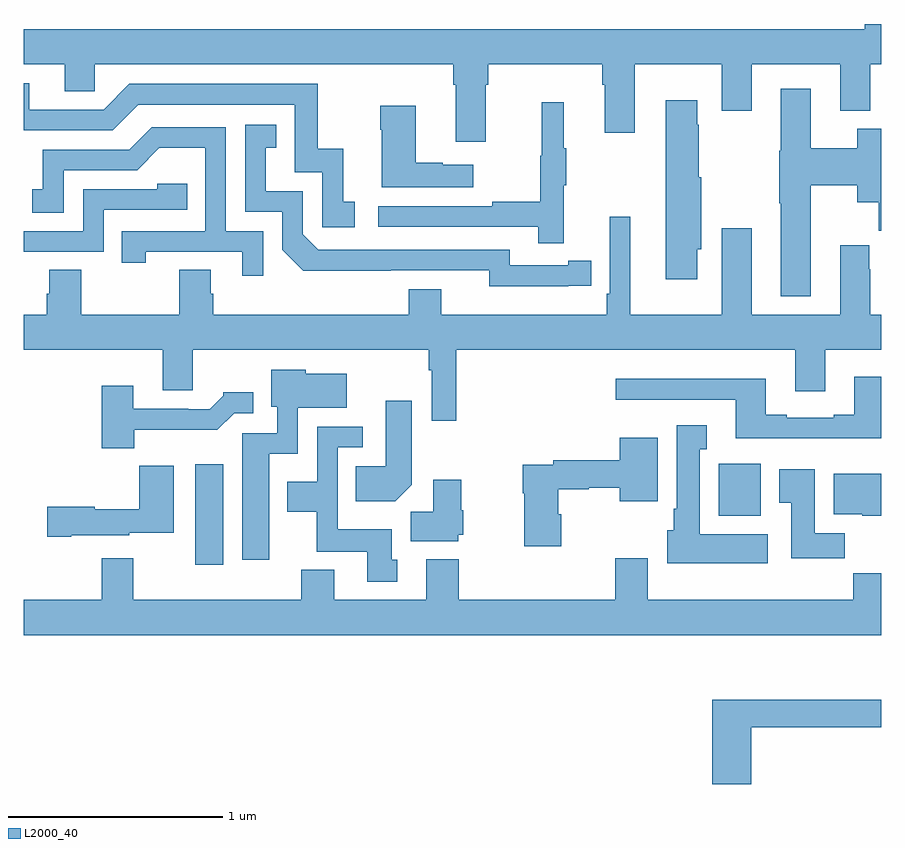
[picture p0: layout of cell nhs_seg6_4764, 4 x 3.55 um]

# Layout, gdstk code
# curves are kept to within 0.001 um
import gdstk
lib = gdstk.Library(unit=1e-6, precision=1e-09)
def R(c, l, rs):  # rectangles x0, y0, x1, y1
    for r in rs: c.add(gdstk.rectangle(r[:2], r[2:], *l))
def P(c, l, *ps):  # polygons
    for p in ps: c.add(gdstk.Polygon(p, *l))
L2000_40 = (2000, 40)

nhs_seg6_4764 = lib.new_cell('nhs_seg6_4764')
R(nhs_seg6_4764, L2000_40, [(393.8,968.976,393.931,969.445), (396.242,969.206,396.439,969.448)])
P(nhs_seg6_4764, L2000_40, [(393,971.312),(393.191,971.312),(393.191,971.185),(393.33,971.185),(393.33,971.312),(395.003,971.312),(395.003,971.216),(395.015,971.216),(395.015,970.95),(395.155,970.95),(395.155,971.216),(395.168,971.216),(395.168,971.312),(395.699,971.312),(395.699,971.216),(395.711,971.216),(395.711,970.992),(395.851,970.992),(395.851,971.312),(396.257,971.312),(396.257,971.094),(396.397,971.094),(396.397,971.312),(396.809,971.312),(396.809,971.096),(396.949,971.096),(396.949,971.312),(397,971.312),(397,971.5),(396.924,971.5),(396.924,971.476),(393,971.476)],
  [(394.543,970.671),(394.49,970.671),(394.49,970.918),(394.372,970.918),(394.372,971.22),(393.492,971.22),(393.372,971.1),(393.025,971.1),(393.025,971.223),(393,971.223),(393,971.004),(393.414,971.004),(393.534,971.124),(394.263,971.124),(394.263,970.809),(394.392,970.809),(394.392,970.551),(394.543,970.551)],
  [(396.673,970.748),(396.89,970.748),(396.89,970.667),(396.989,970.667),(396.989,970.536),(397,970.536),(397,971.011),(396.89,971.011),(396.89,970.92),(396.673,970.92),(396.673,971.197),(396.533,971.197),(396.533,970.908),(396.526,970.908),(396.526,970.664),(396.533,970.664),(396.533,970.229),(396.673,970.229)],
  [(396.142,970.449),(396.16,970.449),(396.16,970.785),(396.15,970.785),(396.15,971.03),(396.142,971.03),(396.142,971.143),(395.996,971.143),(395.996,970.308),(396.142,970.308)],
  [(395.519,970.747),(395.53,970.747),(395.53,970.921),(395.519,970.921),(395.519,971.134),(395.416,971.134),(395.416,970.884),(395.409,970.884),(395.409,970.67),(395.185,970.67),(395.185,970.65),(394.653,970.65),(394.653,970.554),(395.401,970.554),(395.401,970.476),(395.519,970.476)],
  [(395.098,970.843),(394.955,970.843),(394.955,970.853),(394.828,970.853),(394.828,971.119),(394.663,971.119),(394.663,971.006),(394.67,971.006),(394.67,970.739),(395.098,970.739)],
  [(395.54,970.278),(395.648,970.278),(395.648,970.394),(395.54,970.394),(395.54,970.374),(395.268,970.374),(395.268,970.446),(394.374,970.446),(394.302,970.518),(394.302,970.719),(394.129,970.719),(394.129,970.923),(394.178,970.923),(394.178,971.029),(394.032,971.029),(394.032,970.623),(394.206,970.623),(394.206,970.446),(394.304,970.349),(395.172,970.35),(395.172,970.277)],
  [(394.116,970.533),(393.942,970.533),(393.942,971.019),(393.596,971.019),(393.491,970.914),(393.088,970.914),(393.088,970.729),(393.039,970.729),(393.039,970.62),(393.186,970.62),(393.186,970.818),(393.528,970.818),(393.632,970.922),(393.846,970.922),(393.846,970.533),(393.457,970.533),(393.457,970.386),(393.568,970.386),(393.568,970.437),(394.019,970.437),(394.019,970.326),(394.116,970.326)],
  [(393.372,970.632),(393.761,970.632),(393.761,970.755),(393.621,970.755),(393.621,970.728),(393.276,970.728),(393.276,970.533),(393,970.533),(393,970.437),(393.372,970.437)],
  [(394.948,970.261),(394.796,970.261),(394.796,970.144),(393.884,970.144),(393.884,970.242),(393.871,970.242),(393.871,970.352),(393.724,970.352),(393.724,970.144),(393.267,970.144),(393.267,970.352),(393.119,970.352),(393.119,970.242),(393.107,970.242),(393.107,970.144),(393,970.144),(393,969.98),(393.647,969.98),(393.647,969.79),(393.787,969.79),(393.787,969.98),(394.89,969.98),(394.89,969.884),(394.902,969.884),(394.902,969.648),(395.018,969.648),(395.018,969.98),(396.599,969.98),(396.599,969.786),(396.739,969.786),(396.739,969.98),(397,969.98),(397,970.144),(396.949,970.144),(396.949,970.355),(396.946,970.355),(396.946,970.468),(396.809,970.468),(396.809,970.144),(396.397,970.144),(396.397,970.546),(396.257,970.546),(396.257,970.144),(395.83,970.144),(395.83,970.6),(395.733,970.6),(395.733,970.24),(395.72,970.24),(395.72,970.144),(394.948,970.144)],
  [(394.144,969.494),(394.278,969.494),(394.278,969.71),(394.507,969.71),(394.507,969.868),(394.314,969.868),(394.314,969.886),(394.154,969.886),(394.154,969.714),(394.182,969.714),(394.182,969.591),(394.019,969.591),(394.019,969),(394.144,969)],
  [(397,969.853),(396.875,969.853),(396.875,969.676),(396.779,969.676),(396.779,969.663),(396.559,969.663),(396.559,969.676),(396.463,969.676),(396.463,969.844),(395.763,969.844),(395.763,969.747),(396.323,969.747),(396.323,969.566),(397,969.566)],
  [(393.514,969.606),(393.903,969.606),(393.981,969.684),(394.069,969.684),(394.069,969.781),(393.93,969.781),(393.93,969.766),(393.866,969.702),(393.767,969.702),(393.767,969.705),(393.511,969.705),(393.511,969.811),(393.364,969.811),(393.364,969.521),(393.514,969.521)],
  [(394.81,969.35),(394.81,969.742),(394.688,969.742),(394.688,969.436),(394.549,969.436),(394.549,969.272),(394.732,969.272)],
  [(396.472,969.118),(396.154,969.118),(396.154,969.515),(396.187,969.515),(396.187,969.628),(396.047,969.628),(396.047,969.238),(396.032,969.238),(396.032,969.138),(396.002,969.138),(396.002,968.984),(396.472,968.984)],
  [(394.741,969),(394.717,969),(394.717,969.142),(394.464,969.142),(394.464,969.525),(394.582,969.525),(394.582,969.621),(394.368,969.621),(394.368,969.364),(394.229,969.364),(394.229,969.224),(394.366,969.224),(394.366,969.038),(394.601,969.038),(394.601,968.898),(394.741,968.898)],
  [(395.507,969.213),(395.494,969.213),(395.494,969.328),(395.637,969.328),(395.637,969.336),(395.78,969.336),(395.78,969.272),(395.959,969.272),(395.959,969.568),(395.78,969.568),(395.78,969.464),(395.47,969.464),(395.47,969.444),(395.329,969.444),(395.329,969.311),(395.336,969.311),(395.336,969.063),(395.507,969.063)],
  [(393.22,969.113),(393.492,969.113),(393.492,969.125),(393.7,969.125),(393.7,969.439),(393.538,969.439),(393.538,969.235),(393.33,969.235),(393.33,969.248),(393.108,969.248),(393.108,969.106),(393.22,969.106)],
  [(396.83,969.124),(396.691,969.124),(396.691,969.421),(396.524,969.421),(396.524,969.265),(396.581,969.265),(396.581,969.006),(396.83,969.006)],
  [(397,969.4),(396.779,969.4),(396.779,969.212),(396.912,969.212),(396.912,969.206),(397,969.206)],
  [(395.028,969.117),(395.05,969.117),(395.05,969.231),(395.04,969.231),(395.04,969.373),(394.91,969.373),(394.91,969.224),(394.805,969.224),(394.805,969.086),(395.028,969.086)],
  [(397,968.936),(396.871,968.936),(396.871,968.812),(395.911,968.812),(395.911,969.007),(395.759,969.007),(395.759,968.812),(395.03,968.812),(395.03,969.001),(394.877,969.001),(394.877,968.812),(394.447,968.812),(394.447,968.953),(394.295,968.953),(394.295,968.812),(393.511,968.812),(393.511,969.007),(393.364,969.007),(393.364,968.812),(393,968.812),(393,968.648),(397,968.648)],
  [(396.395,968.218),(397,968.218),(397,968.347),(396.212,968.347),(396.212,967.953),(396.395,967.953)])

lib.write_gds('nhs_seg6_4764.gds')
